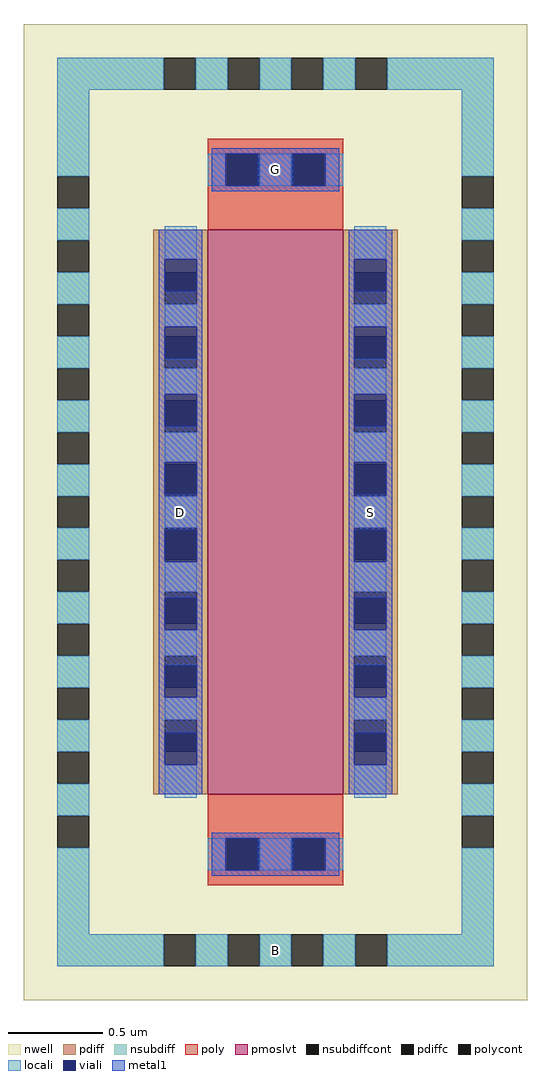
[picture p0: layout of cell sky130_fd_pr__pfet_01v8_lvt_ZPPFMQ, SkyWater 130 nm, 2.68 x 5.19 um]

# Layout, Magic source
magic
tech sky130A
magscale 1 2
<< nwell >>
rect -268 -519 268 519
<< pmoslvt >>
rect -72 -300 72 300
<< pdiff >>
rect -130 255 -72 300
rect -130 221 -118 255
rect -84 221 -72 255
rect -130 187 -72 221
rect -130 153 -118 187
rect -84 153 -72 187
rect -130 119 -72 153
rect -130 85 -118 119
rect -84 85 -72 119
rect -130 51 -72 85
rect -130 17 -118 51
rect -84 17 -72 51
rect -130 -17 -72 17
rect -130 -51 -118 -17
rect -84 -51 -72 -17
rect -130 -85 -72 -51
rect -130 -119 -118 -85
rect -84 -119 -72 -85
rect -130 -153 -72 -119
rect -130 -187 -118 -153
rect -84 -187 -72 -153
rect -130 -221 -72 -187
rect -130 -255 -118 -221
rect -84 -255 -72 -221
rect -130 -300 -72 -255
rect 72 255 130 300
rect 72 221 84 255
rect 118 221 130 255
rect 72 187 130 221
rect 72 153 84 187
rect 118 153 130 187
rect 72 119 130 153
rect 72 85 84 119
rect 118 85 130 119
rect 72 51 130 85
rect 72 17 84 51
rect 118 17 130 51
rect 72 -17 130 17
rect 72 -51 84 -17
rect 118 -51 130 -17
rect 72 -85 130 -51
rect 72 -119 84 -85
rect 118 -119 130 -85
rect 72 -153 130 -119
rect 72 -187 84 -153
rect 118 -187 130 -153
rect 72 -221 130 -187
rect 72 -255 84 -221
rect 118 -255 130 -221
rect 72 -300 130 -255
<< pdiffc >>
rect -118 221 -84 255
rect -118 153 -84 187
rect -118 85 -84 119
rect -118 17 -84 51
rect -118 -51 -84 -17
rect -118 -119 -84 -85
rect -118 -187 -84 -153
rect -118 -255 -84 -221
rect 84 221 118 255
rect 84 153 118 187
rect 84 85 118 119
rect 84 17 118 51
rect 84 -51 118 -17
rect 84 -119 118 -85
rect 84 -187 118 -153
rect 84 -255 118 -221
<< nsubdiff >>
rect -232 449 -119 483
rect -85 449 -51 483
rect -17 449 17 483
rect 51 449 85 483
rect 119 449 232 483
rect -232 357 -198 449
rect -232 289 -198 323
rect 198 357 232 449
rect -232 221 -198 255
rect -232 153 -198 187
rect -232 85 -198 119
rect -232 17 -198 51
rect -232 -51 -198 -17
rect -232 -119 -198 -85
rect -232 -187 -198 -153
rect -232 -255 -198 -221
rect -232 -323 -198 -289
rect 198 289 232 323
rect 198 221 232 255
rect 198 153 232 187
rect 198 85 232 119
rect 198 17 232 51
rect 198 -51 232 -17
rect 198 -119 232 -85
rect 198 -187 232 -153
rect 198 -255 232 -221
rect -232 -449 -198 -357
rect 198 -323 232 -289
rect 198 -449 232 -357
rect -232 -483 -119 -449
rect -85 -483 -51 -449
rect -17 -483 17 -449
rect 51 -483 85 -449
rect 119 -483 232 -449
<< nsubdiffcont >>
rect -119 449 -85 483
rect -51 449 -17 483
rect 17 449 51 483
rect 85 449 119 483
rect -232 323 -198 357
rect 198 323 232 357
rect -232 255 -198 289
rect -232 187 -198 221
rect -232 119 -198 153
rect -232 51 -198 85
rect -232 -17 -198 17
rect -232 -85 -198 -51
rect -232 -153 -198 -119
rect -232 -221 -198 -187
rect -232 -289 -198 -255
rect 198 255 232 289
rect 198 187 232 221
rect 198 119 232 153
rect 198 51 232 85
rect 198 -17 232 17
rect 198 -85 232 -51
rect 198 -153 232 -119
rect 198 -221 232 -187
rect 198 -289 232 -255
rect -232 -357 -198 -323
rect 198 -357 232 -323
rect -119 -483 -85 -449
rect -51 -483 -17 -449
rect 17 -483 51 -449
rect 85 -483 119 -449
<< poly >>
rect -72 381 72 397
rect -72 347 -51 381
rect -17 347 17 381
rect 51 347 72 381
rect -72 300 72 347
rect -72 -347 72 -300
rect -72 -381 -51 -347
rect -17 -381 17 -347
rect 51 -381 72 -347
rect -72 -397 72 -381
<< polycont >>
rect -51 347 -17 381
rect 17 347 51 381
rect -51 -381 -17 -347
rect 17 -381 51 -347
<< locali >>
rect -232 449 -119 483
rect -85 449 -51 483
rect -17 449 17 483
rect 51 449 85 483
rect 119 449 232 483
rect -232 357 -198 449
rect -72 347 -53 381
rect -17 347 17 381
rect 53 347 72 381
rect 198 357 232 449
rect -232 289 -198 323
rect -232 221 -198 255
rect -232 153 -198 187
rect -232 85 -198 119
rect -232 17 -198 51
rect -232 -51 -198 -17
rect -232 -119 -198 -85
rect -232 -187 -198 -153
rect -232 -255 -198 -221
rect -232 -323 -198 -289
rect -118 269 -84 304
rect -118 197 -84 221
rect -118 125 -84 153
rect -118 53 -84 85
rect -118 -17 -84 17
rect -118 -85 -84 -53
rect -118 -153 -84 -125
rect -118 -221 -84 -197
rect -118 -304 -84 -269
rect 84 269 118 304
rect 84 197 118 221
rect 84 125 118 153
rect 84 53 118 85
rect 84 -17 118 17
rect 84 -85 118 -53
rect 84 -153 118 -125
rect 84 -221 118 -197
rect 84 -304 118 -269
rect 198 289 232 323
rect 198 221 232 255
rect 198 153 232 187
rect 198 85 232 119
rect 198 17 232 51
rect 198 -51 232 -17
rect 198 -119 232 -85
rect 198 -187 232 -153
rect 198 -255 232 -221
rect 198 -323 232 -289
rect -232 -449 -198 -357
rect -72 -381 -53 -347
rect -17 -381 17 -347
rect 53 -381 72 -347
rect 198 -449 232 -357
rect -232 -483 -119 -449
rect -85 -483 -51 -449
rect -17 -483 17 -449
rect 51 -483 85 -449
rect 119 -483 232 -449
<< viali >>
rect -53 347 -51 381
rect -51 347 -19 381
rect 19 347 51 381
rect 51 347 53 381
rect -118 255 -84 269
rect -118 235 -84 255
rect -118 187 -84 197
rect -118 163 -84 187
rect -118 119 -84 125
rect -118 91 -84 119
rect -118 51 -84 53
rect -118 19 -84 51
rect -118 -51 -84 -19
rect -118 -53 -84 -51
rect -118 -119 -84 -91
rect -118 -125 -84 -119
rect -118 -187 -84 -163
rect -118 -197 -84 -187
rect -118 -255 -84 -235
rect -118 -269 -84 -255
rect 84 255 118 269
rect 84 235 118 255
rect 84 187 118 197
rect 84 163 118 187
rect 84 119 118 125
rect 84 91 118 119
rect 84 51 118 53
rect 84 19 118 51
rect 84 -51 118 -19
rect 84 -53 118 -51
rect 84 -119 118 -91
rect 84 -125 118 -119
rect 84 -187 118 -163
rect 84 -197 118 -187
rect 84 -255 118 -235
rect 84 -269 118 -255
rect -53 -381 -51 -347
rect -51 -381 -19 -347
rect 19 -381 51 -347
rect 51 -381 53 -347
<< metal1 >>
rect -68 381 68 387
rect -68 347 -53 381
rect -19 347 19 381
rect 53 347 68 381
rect -68 341 68 347
rect -124 269 -78 300
rect -124 235 -118 269
rect -84 235 -78 269
rect -124 197 -78 235
rect -124 163 -118 197
rect -84 163 -78 197
rect -124 125 -78 163
rect -124 91 -118 125
rect -84 91 -78 125
rect -124 53 -78 91
rect -124 19 -118 53
rect -84 19 -78 53
rect -124 -19 -78 19
rect -124 -53 -118 -19
rect -84 -53 -78 -19
rect -124 -91 -78 -53
rect -124 -125 -118 -91
rect -84 -125 -78 -91
rect -124 -163 -78 -125
rect -124 -197 -118 -163
rect -84 -197 -78 -163
rect -124 -235 -78 -197
rect -124 -269 -118 -235
rect -84 -269 -78 -235
rect -124 -300 -78 -269
rect 78 269 124 300
rect 78 235 84 269
rect 118 235 124 269
rect 78 197 124 235
rect 78 163 84 197
rect 118 163 124 197
rect 78 125 124 163
rect 78 91 84 125
rect 118 91 124 125
rect 78 53 124 91
rect 78 19 84 53
rect 118 19 124 53
rect 78 -19 124 19
rect 78 -53 84 -19
rect 118 -53 124 -19
rect 78 -91 124 -53
rect 78 -125 84 -91
rect 118 -125 124 -91
rect 78 -163 124 -125
rect 78 -197 84 -163
rect 118 -197 124 -163
rect 78 -235 124 -197
rect 78 -269 84 -235
rect 118 -269 124 -235
rect 78 -300 124 -269
rect -68 -347 68 -341
rect -68 -381 -53 -347
rect -19 -381 19 -347
rect 53 -381 68 -347
rect -68 -387 68 -381
<< labels >>
rlabel locali s 0 -466 0 -466 4 B
rlabel locali s -101 0 -101 0 4 D
rlabel locali s 101 0 101 0 4 S
rlabel locali s 0 364 0 364 4 G
<< properties >>
string FIXED_BBOX -215 -466 215 466
<< end >>
